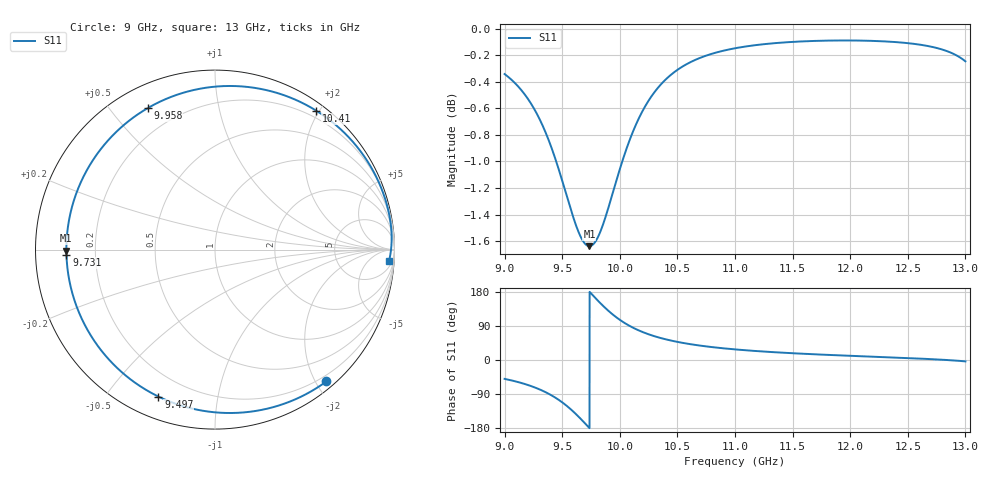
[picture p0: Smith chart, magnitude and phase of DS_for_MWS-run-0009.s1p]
! TOUCHSTONE file generated by CST DESIGN STUDIO
! Date and time: Tue Feb  4 17:27:20 2025
! Project name: C:\Work\MatlabApps\UnitCellOptimizationMatlab\CST\unitcell.cst
! Tree item: Tasks\Sweep1\SPara1\S-Parameters
! Header version: 2024
! Port assignment regex: !\s*Touchstone port\s*([0-9]+)\s*=\s*(CST MWS port|CST DES external port|CST DES block port)\s*(.+)\s* \(\"(.*)\"\)(\s*mode\s*([0-9]+))?.*
! Touchstone port assignment:
! Touchstone port 1 = CST DES external port 1 ("")
# GHz S MA R 50
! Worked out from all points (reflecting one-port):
!   4001 points, 9 GHz to 13 GHz, reference 50 ohm
!   lowest |S11| = -1.6 dB at 9.736 GHz (marker M1), VSWR 10.64, Z = 4.7 - j0.193 ohm
!   phase of S11 starts at -50 deg and turns -314 deg over the sweep
!   S11 on the Smith chart (normalised r, x): 9 GHz: 0.11, -2.15; 9.497 GHz: 0.10, -0.68; 9.731 GHz: 0.09, -0.02; 9.958 GHz: 0.09, +0.63; 10.41 GHz: 0.10, +1.96; 13 GHz: 12, -26
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9  0.9615 -49.8
9.136  0.9492 -59.8
9.263  0.9318 -72.5
9.395  0.9049 -91.2
9.448  0.8912 -100.8
9.497  0.8774 -111.0
9.5  0.8766 -111.7
9.555  0.8605 -125.0
9.608  0.8461 -139.4
9.673  0.8329 -159.1
9.731  0.8282 -177.9
9.736  0.8281 -179.6
9.782  0.8307 165.4
9.83  0.8384 150.3
9.894  0.8543 131.7
9.958  0.873 115.4
10  0.8853 106.0
10.086  0.9081 89.8
10.194  0.9305 74.3
10.295  0.9457 63.3
10.408  0.9578 53.9
10.5  0.9649 47.8
10.718  0.9758 37.1
11  0.9832 28.0
11.5  0.9886 17.9
12  0.9899 11.1
12.5  0.9876 5.1
13  0.9721 -3.6
